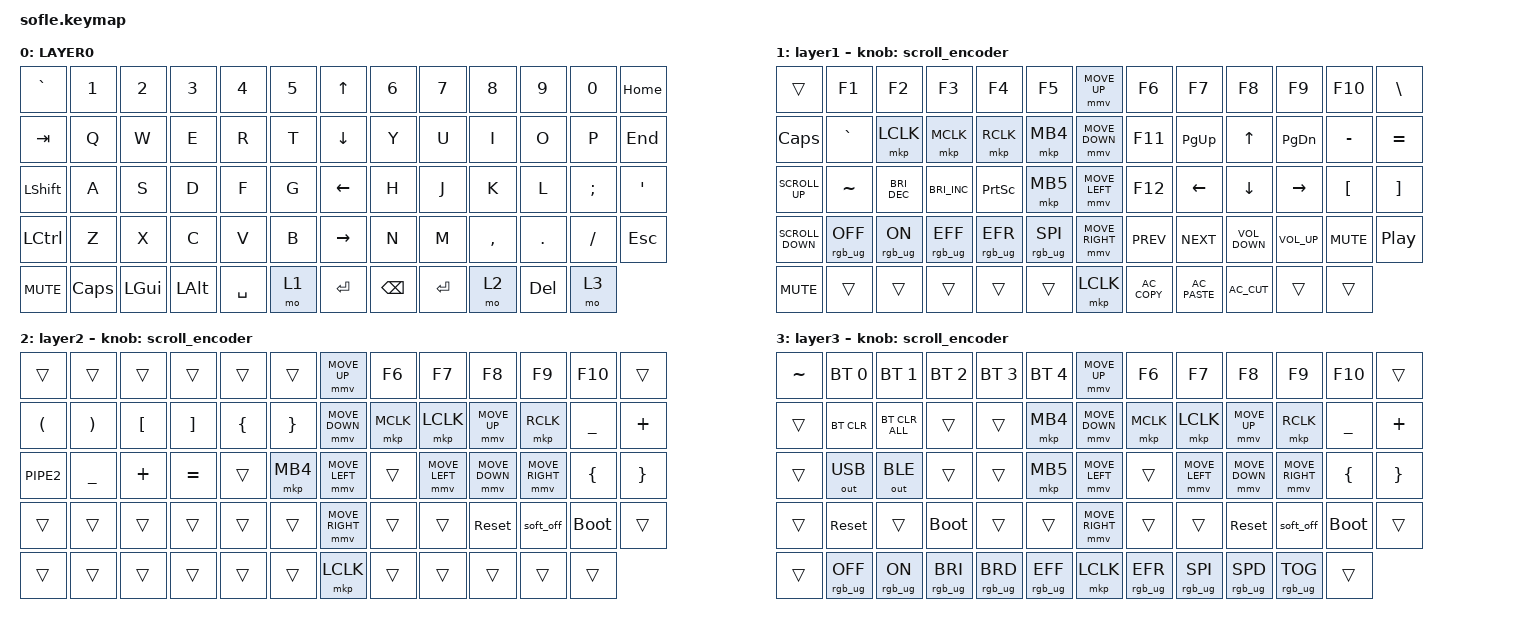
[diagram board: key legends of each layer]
#include <behaviors/mouse_keys.dtsi>
#include <dt-bindings/zmk/mouse.h>
#include <behaviors.dtsi>
#include <dt-bindings/zmk/bt.h>
#include <dt-bindings/zmk/keys.h>
#include <dt-bindings/zmk/outputs.h>
#include <dt-bindings/zmk/rgb.h>

#define ZMK_MOUSE_DEFAULT_MOVE_VAL 1200  // 600
#define ZMK_MOUSE_DEFAULT_SCRL_VAL 20    // 10
#define U_MS_U &mmv MOVE_UP
#define U_MS_D &mmv MOVE_DOWN
#define U_MS_L &mmv MOVE_LEFT
#define U_MS_R &mmv MOVE_RIGHT
#define ZMK_MOUSE_DEFAULT_MOVE_VAL 1200  //  600
#define ZMK_MOUSE_DEFAULT_SCRL_VAL 20    // 10

/ {
    behaviors {
        mmv {
            acceleration-exponent = <1>;      // 1
            time-to-max-speed-ms = <900>;    // 40
            delay-ms = <0>;                   // 0
        };

        msc {
            acceleration-exponent = <1>;      // 0
            time-to-max-speed-ms = <400>;      // 500
            delay-ms = <0>;                   //   10
        };
    };

    scroll_encoder: scroll_encoder {
        compatible = "zmk,behavior-sensor-rotate";
        #sensor-binding-cells = <0>;
        bindings = <&msc SCRL_DOWN>, <&msc SCRL_UP>;

        tap-ms = <30>;
    };

    keymap {
        compatible = "zmk,keymap";

        layer0 {
            bindings = <
&kp GRAVE   &kp N1        &kp N2        &kp N3        &kp N4     &kp N5    &kp UP_ARROW     &kp N6         &kp N7     &kp N8     &kp N9      &kp N0    &kp HOME
&kp TAB     &kp Q         &kp W         &kp E         &kp R      &kp T     &kp DOWN_ARROW   &kp Y          &kp U      &kp I      &kp O       &kp P     &kp END
&kp LSHFT   &kp A         &kp S         &kp D         &kp F      &kp G     &kp LEFT_ARROW   &kp H          &kp J      &kp K      &kp L       &kp SEMI  &kp APOS
&kp LCTRL   &kp Z         &kp X         &kp C         &kp V      &kp B     &kp RIGHT_ARROW  &kp N          &kp M      &kp COMMA  &kp DOT     &kp FSLH  &kp ESC
&kp C_MUTE  &kp CAPSLOCK  &kp LEFT_GUI  &kp LEFT_ALT  &kp SPACE  &mo 1     &kp ENTER        &kp BACKSPACE  &kp ENTER  &mo 2      &kp DELETE  &mo 3
            >;

            display-name = "LAYER0";
        };

        layer_1 {
            bindings = <
&trans             &kp F1           &kp F2                &kp F3                &kp F4           &kp F5             &mmv MOVE_UP     &kp F6         &kp F7          &kp F8             &kp F9           &kp F10           &kp BSLH
&kp CAPSLOCK       &kp GRAVE        &mkp LCLK             &mkp MCLK             &mkp RCLK        &mkp MB4           &mmv MOVE_DOWN   &kp F11        &kp PG_UP       &kp UP             &kp PG_DN        &kp MINUS         &kp EQUAL
&kp K_SCROLL_UP    &kp TILDE        &kp C_BRIGHTNESS_DEC  &kp C_BRIGHTNESS_INC  &kp PRINTSCREEN  &mkp MB5           &mmv MOVE_LEFT   &kp F12        &kp LEFT        &kp DOWN           &kp RIGHT        &kp LEFT_BRACKET  &kp RIGHT_BRACKET
&kp K_SCROLL_DOWN  &rgb_ug RGB_OFF  &rgb_ug RGB_ON        &rgb_ug RGB_EFF       &rgb_ug RGB_EFR  &rgb_ug RGB_SPI    &mmv MOVE_RIGHT  &kp C_PREV     &kp C_NEXT      &kp C_VOLUME_DOWN  &kp C_VOLUME_UP  &kp C_MUTE        &kp C_PLAY_PAUSE
&kp C_MUTE         &trans           &trans                &trans                &trans           &trans             &mkp LCLK        &kp C_AC_COPY  &kp C_AC_PASTE  &kp C_AC_CUT       &trans           &trans
            >;

            display-name = "layer1";
            sensor-bindings = <&scroll_encoder>;
        };

        layer_2 {
            bindings = <
&trans     &trans     &trans    &trans     &trans    &trans      &mmv MOVE_UP     &kp F6     &kp F7          &kp F8          &kp F9           &kp F10      &trans
&kp LPAR   &kp RPAR   &kp LBKT  &kp RBKT   &kp LBRC  &kp RBRC    &mmv MOVE_DOWN   &mkp MCLK  &mkp LCLK       &mmv MOVE_UP    &mkp RCLK        &kp UNDER    &kp PLUS
&kp PIPE2  &kp UNDER  &kp PLUS  &kp EQUAL  &trans    &mkp MB4    &mmv MOVE_LEFT   &trans     &mmv MOVE_LEFT  &mmv MOVE_DOWN  &mmv MOVE_RIGHT  &kp LBRC     &kp RBRC
&trans     &trans     &trans    &trans     &trans    &trans      &mmv MOVE_RIGHT  &trans     &trans          &sys_reset      &soft_off        &bootloader  &trans
&trans     &trans     &trans    &trans     &trans    &trans      &mkp LCLK        &trans     &trans          &trans          &trans           &trans
            >;
            
            display-name = "layer2";
            sensor-bindings = <&scroll_encoder>;
        };

        layer_3 {
            bindings = <
&kp TILDE  &bt BT_SEL 0     &bt BT_SEL 1    &bt BT_SEL 2     &bt BT_SEL 3     &bt BT_SEL 4       &mmv MOVE_UP     &kp F6           &kp F7           &kp F8           &kp F9           &kp F10      &trans
&trans     &bt BT_CLR       &bt BT_CLR_ALL  &trans           &trans           &mkp MB4           &mmv MOVE_DOWN   &mkp MCLK        &mkp LCLK        &mmv MOVE_UP     &mkp RCLK        &kp UNDER    &kp PLUS
&trans     &out OUT_USB     &out OUT_BLE    &trans           &trans           &mkp MB5           &mmv MOVE_LEFT   &trans           &mmv MOVE_LEFT   &mmv MOVE_DOWN   &mmv MOVE_RIGHT  &kp LBRC     &kp RBRC
&trans     &sys_reset       &trans          &bootloader      &trans           &trans             &mmv MOVE_RIGHT  &trans           &trans           &sys_reset       &soft_off        &bootloader  &trans
&trans     &rgb_ug RGB_OFF  &rgb_ug RGB_ON  &rgb_ug RGB_BRI  &rgb_ug RGB_BRD  &rgb_ug RGB_EFF    &mkp LCLK        &rgb_ug RGB_EFR  &rgb_ug RGB_SPI  &rgb_ug RGB_SPD  &rgb_ug RGB_TOG  &trans
            >;

            display-name = "layer3";
            sensor-bindings = <&scroll_encoder>;
        };
    };
};
